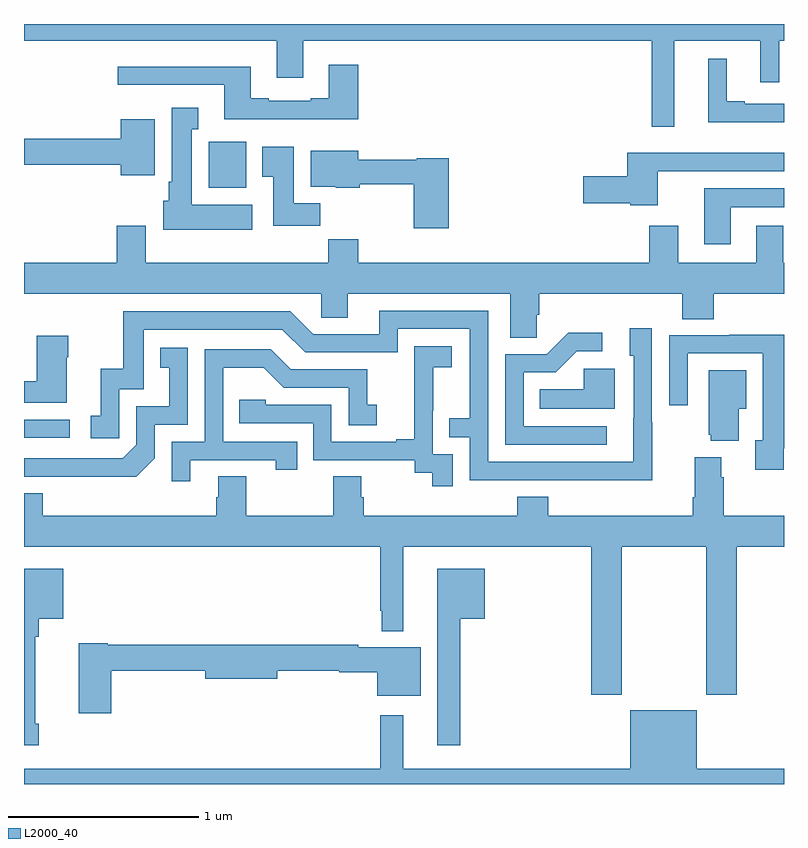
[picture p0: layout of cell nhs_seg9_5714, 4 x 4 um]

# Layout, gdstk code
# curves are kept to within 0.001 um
import gdstk
lib = gdstk.Library(unit=1e-6, precision=1e-09)
def R(c, l, rs):  # rectangles x0, y0, x1, y1
    for r in rs: c.add(gdstk.rectangle(r[:2], r[2:], *l))
def P(c, l, *ps):  # polygons
    for p in ps: c.add(gdstk.Polygon(p, *l))
L2000_40 = (2000, 40)

nhs_seg9_5714 = lib.new_cell('nhs_seg9_5714')
R(nhs_seg9_5714, L2000_40, [(443,1202.322,443.242,1202.418), (443.972,1203.638,444.169,1203.88)])
P(nhs_seg9_5714, L2000_40, [(446.423,1204.412),(446.876,1204.412),(446.876,1204.194),(446.975,1204.194),(446.975,1204.412),(447,1204.412),(447,1204.5),(443,1204.5),(443,1204.412),(444.329,1204.412),(444.329,1204.218),(444.469,1204.218),(444.469,1204.412),(446.305,1204.412),(446.305,1203.96),(446.423,1203.96)],
  [(447,1204.08),(446.794,1204.08),(446.794,1204.093),(446.699,1204.093),(446.699,1204.318),(446.6,1204.318),(446.6,1203.983),(447,1203.983)],
  [(444.758,1204.285),(444.605,1204.285),(444.605,1204.108),(444.509,1204.108),(444.509,1204.095),(444.289,1204.095),(444.289,1204.108),(444.193,1204.108),(444.193,1204.276),(443.493,1204.276),(443.493,1204.179),(444.053,1204.179),(444.053,1203.998),(444.758,1203.998)],
  [(444.202,1203.55),(443.884,1203.55),(443.884,1203.947),(443.917,1203.947),(443.917,1204.06),(443.777,1204.06),(443.777,1203.67),(443.762,1203.67),(443.762,1203.57),(443.732,1203.57),(443.732,1203.416),(444.202,1203.416)],
  [(443.689,1204),(443.51,1204),(443.51,1203.896),(443,1203.896),(443,1203.76),(443.51,1203.76),(443.51,1203.704),(443.689,1203.704)],
  [(444.56,1203.556),(444.421,1203.556),(444.421,1203.853),(444.254,1203.853),(444.254,1203.697),(444.311,1203.697),(444.311,1203.438),(444.56,1203.438)],
  [(445.235,1203.793),(445.068,1203.793),(445.068,1203.785),(444.76,1203.785),(444.76,1203.832),(444.509,1203.832),(444.509,1203.644),(444.642,1203.644),(444.642,1203.638),(444.768,1203.638),(444.768,1203.657),(445.052,1203.657),(445.052,1203.426),(445.235,1203.426)],
  [(446.335,1203.726),(447,1203.726),(447,1203.823),(446.174,1203.823),(446.174,1203.698),(445.944,1203.698),(445.944,1203.556),(446.19,1203.556),(446.19,1203.545),(446.335,1203.545)],
  [(446.719,1203.535),(447,1203.535),(447,1203.636),(446.579,1203.636),(446.579,1203.342),(446.719,1203.342)],
  [(445.698,1202.971),(445.712,1202.971),(445.712,1203.08),(446.465,1203.08),(446.465,1202.947),(446.63,1202.947),(446.63,1203.08),(447,1203.08),(447,1203.244),(446.995,1203.244),(446.995,1203.439),(446.855,1203.439),(446.855,1203.244),(446.443,1203.244),(446.443,1203.439),(446.291,1203.439),(446.291,1203.244),(444.758,1203.244),(444.758,1203.368),(444.601,1203.368),(444.601,1203.244),(443.641,1203.244),(443.641,1203.439),(443.489,1203.439),(443.489,1203.244),(443,1203.244),(443,1203.08),(444.564,1203.08),(444.564,1202.953),(444.703,1202.953),(444.703,1203.08),(445.559,1203.08),(445.559,1202.848),(445.698,1202.848)],
  [(446.307,1202.405),(446.304,1202.405),(446.304,1202.899),(446.189,1202.899),(446.189,1202.754),(446.208,1202.754),(446.207,1202.196),(445.443,1202.196),(445.443,1202.991),(444.869,1202.991),(444.869,1202.868),(444.522,1202.868),(444.402,1202.988),(443.523,1202.988),(443.523,1202.686),(443.405,1202.686),(443.405,1202.439),(443.352,1202.439),(443.352,1202.319),(443.502,1202.319),(443.502,1202.577),(443.631,1202.577),(443.631,1202.892),(444.36,1202.892),(444.48,1202.772),(444.966,1202.772),(444.966,1202.895),(445.347,1202.895),(445.347,1202.426),(445.237,1202.426),(445.237,1202.325),(445.347,1202.325),(445.347,1202.1),(446.307,1202.099)],
  [(446.068,1202.382),(445.629,1202.382),(445.629,1202.667),(445.798,1202.667),(445.909,1202.778),(446.044,1202.778),(446.044,1202.876),(445.865,1202.876),(445.752,1202.763),(445.533,1202.763),(445.533,1202.286),(446.068,1202.286)],
  [(446.998,1202.266),(447,1202.266),(447,1202.864),(446.713,1202.864),(446.713,1202.862),(446.397,1202.862),(446.397,1202.493),(446.493,1202.493),(446.493,1202.766),(446.889,1202.766),(446.889,1202.31),(446.849,1202.31),(446.849,1202.154),(446.998,1202.154)],
  [(443.224,1202.747),(443.232,1202.747),(443.232,1202.86),(443.066,1202.86),(443.066,1202.621),(443,1202.621),(443,1202.507),(443.224,1202.507)],
  [(445.257,1202.235),(445.152,1202.235),(445.152,1202.465),(445.154,1202.465),(445.154,1202.693),(445.252,1202.693),(445.252,1202.803),(445.054,1202.803),(445.054,1202.597),(445.055,1202.597),(445.055,1202.314),(444.959,1202.314),(444.959,1202.301),(444.618,1202.301),(444.618,1202.496),(444.273,1202.496),(444.273,1202.523),(444.133,1202.523),(444.133,1202.4),(444.522,1202.4),(444.522,1202.205),(445.056,1202.205),(445.056,1202.137),(445.149,1202.137),(445.149,1202.067),(445.257,1202.067)],
  [(443.688,1202.214),(443.688,1202.391),(443.862,1202.391),(443.862,1202.797),(443.716,1202.797),(443.716,1202.691),(443.765,1202.691),(443.765,1202.487),(443.592,1202.487),(443.592,1202.286),(443.52,1202.214),(443,1202.214),(443,1202.118),(443.59,1202.117)],
  [(443.875,1202.205),(444.326,1202.205),(444.326,1202.154),(444.437,1202.154),(444.437,1202.301),(444.048,1202.301),(444.048,1202.69),(444.262,1202.69),(444.366,1202.586),(444.708,1202.586),(444.708,1202.388),(444.856,1202.388),(444.856,1202.497),(444.807,1202.497),(444.807,1202.682),(444.403,1202.682),(444.298,1202.787),(443.952,1202.787),(443.952,1202.301),(443.778,1202.301),(443.778,1202.094),(443.875,1202.094)],
  [(446.11,1202.686),(445.945,1202.686),(445.945,1202.578),(445.714,1202.578),(445.714,1202.474),(446.11,1202.474)],
  [(446.761,1202.474),(446.8,1202.474),(446.8,1202.677),(446.603,1202.677),(446.603,1202.337),(446.615,1202.337),(446.615,1202.306),(446.761,1202.306)],
  [(444.023,1202.12),(444.023,1202.01),(444.011,1202.01),(444.011,1201.912),(443.099,1201.912),(443.099,1202.029),(443,1202.029),(443,1201.748),(444.876,1201.748),(444.876,1201.411),(444.883,1201.411),(444.883,1201.304),(444.997,1201.304),(444.997,1201.748),(445.985,1201.748),(445.985,1200.969),(446.145,1200.969),(446.145,1201.748),(446.59,1201.748),(446.59,1200.969),(446.75,1200.969),(446.75,1201.748),(447,1201.748),(447,1201.912),(446.684,1201.912),(446.684,1202.114),(446.671,1202.114),(446.671,1202.221),(446.531,1202.221),(446.531,1202.008),(446.519,1202.008),(446.519,1201.912),(445.76,1201.912),(445.76,1202.011),(445.595,1202.011),(445.595,1201.912),(444.788,1201.912),(444.788,1202.01),(444.775,1202.01),(444.775,1202.12),(444.628,1202.12),(444.628,1201.912),(444.171,1201.912),(444.171,1202.12)],
  [(443.077,1200.817),(443.059,1200.817),(443.059,1201.274),(443.077,1201.274),(443.077,1201.37),(443.206,1201.37),(443.206,1201.633),(443,1201.633),(443,1200.705),(443.077,1200.705)],
  [(445.297,1201.37),(445.426,1201.37),(445.426,1201.633),(445.175,1201.633),(445.175,1200.705),(445.297,1200.705)],
  [(443.459,1201.096),(443.954,1201.096),(443.954,1201.054),(444.334,1201.054),(444.334,1201.096),(444.66,1201.096),(444.66,1201.088),(444.86,1201.088),(444.86,1200.965),(445.087,1200.965),(445.087,1201.219),(444.76,1201.219),(444.76,1201.232),(443.442,1201.232),(443.442,1201.24),(443.288,1201.24),(443.288,1200.873),(443.459,1200.873)],
  [(447,1200.58),(446.542,1200.58),(446.542,1200.889),(446.192,1200.889),(446.192,1200.58),(444.997,1200.58),(444.997,1200.862),(444.876,1200.862),(444.876,1200.58),(443,1200.58),(443,1200.5),(447,1200.5)])

lib.write_gds('nhs_seg9_5714.gds')
